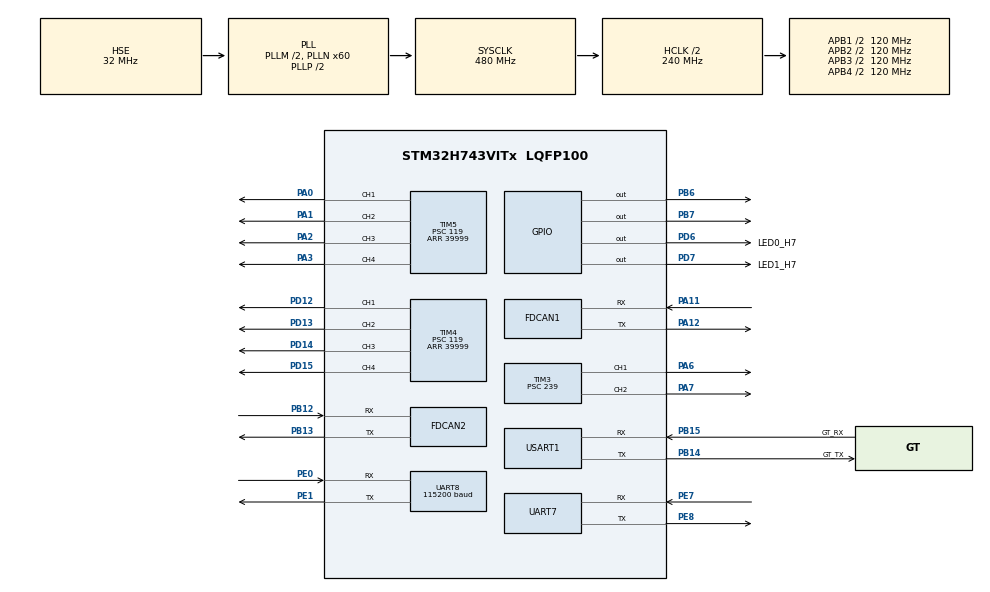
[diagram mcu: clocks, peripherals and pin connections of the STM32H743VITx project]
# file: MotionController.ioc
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CORTEX_M7.default_mode_Activation=1
Dma.Request0=UART8_RX
Dma.UART8_RX.0.Direction=DMA_PERIPH_TO_MEMORY
Dma.UART8_RX.0.EventEnable=DISABLE
Dma.UART8_RX.0.FIFOMode=DMA_FIFOMODE_DISABLE
Dma.UART8_RX.0.Instance=DMA1_Stream0
Dma.UART8_RX.0.MemDataAlignment=DMA_MDATAALIGN_BYTE
Dma.UART8_RX.0.MemInc=DMA_MINC_ENABLE
Dma.UART8_RX.0.Mode=DMA_NORMAL
Dma.UART8_RX.0.PeriphDataAlignment=DMA_PDATAALIGN_BYTE
Dma.UART8_RX.0.PeriphInc=DMA_PINC_DISABLE
Dma.UART8_RX.0.Polarity=HAL_DMAMUX_REQ_GEN_RISING
Dma.UART8_RX.0.Priority=DMA_PRIORITY_LOW
Dma.UART8_RX.0.RequestNumber=1
Dma.UART8_RX.0.SignalID=NONE
Dma.UART8_RX.0.SyncEnable=DISABLE
Dma.UART8_RX.0.SyncPolarity=HAL_DMAMUX_SYNC_NO_EVENT
Dma.UART8_RX.0.SyncRequestNumber=1
Dma.UART8_RX.0.SyncSignalID=NONE
FDCAN1.AutoRetransmission=ENABLE
FDCAN1.CalculateBaudRateNominal=1000000
FDCAN1.CalculateTimeBitNominal=1000
FDCAN1.CalculateTimeQuantumNominal=62.5
FDCAN1.DataPrescaler=2
FDCAN1.DataSyncJumpWidth=10
FDCAN1.DataTimeSeg1=10
FDCAN1.DataTimeSeg2=5
FDCAN1.ExtFiltersNbr=16
FDCAN1.FrameFormat=FDCAN_FRAME_FD_NO_BRS
FDCAN1.Mode=FDCAN_MODE_NORMAL
FDCAN1.NominalPrescaler=4
FDCAN1.NominalSyncJumpWidth=10
FDCAN1.NominalTimeSeg1=10
FDCAN1.NominalTimeSeg2=5
FDCAN1.RxBufferSize=FDCAN_DATA_BYTES_64
FDCAN1.RxFifo0ElmtSize=FDCAN_DATA_BYTES_64
FDCAN1.RxFifo0ElmtsNbr=32
FDCAN1.RxFifo1ElmtSize=FDCAN_DATA_BYTES_64
FDCAN1.StdFiltersNbr=16
FDCAN1.TxElmtSize=FDCAN_DATA_BYTES_64
FDCAN1.TxFifoQueueElmtsNbr=32
FDCAN2.AutoRetransmission=ENABLE
FDCAN2.CalculateBaudRateNominal=200000
FDCAN2.CalculateTimeBitNominal=5000
FDCAN2.CalculateTimeQuantumNominal=312.5
FDCAN2.DataPrescaler=2
FDCAN2.DataSyncJumpWidth=10
FDCAN2.DataTimeSeg1=10
FDCAN2.DataTimeSeg2=5
FDCAN2.ExtFiltersNbr=16
FDCAN2.FrameFormat=FDCAN_FRAME_CLASSIC
FDCAN2.NominalPrescaler=20
FDCAN2.NominalSyncJumpWidth=10
FDCAN2.NominalTimeSeg1=10
FDCAN2.NominalTimeSeg2=5
FDCAN2.RxFifo0ElmtSize=FDCAN_DATA_BYTES_64
FDCAN2.RxFifo0ElmtsNbr=32
FDCAN2.RxFifo1ElmtSize=FDCAN_DATA_BYTES_64
FDCAN2.StdFiltersNbr=16
FDCAN2.TxElmtSize=FDCAN_DATA_BYTES_8
FDCAN2.TxFifoQueueElmtsNbr=32
Mcu.Family=STM32H7
Mcu.Name=STM32H743VITx
Mcu.Package=LQFP100
NVIC.DMA1_Stream0_IRQn=true\:0\:0\:false\:false\:true\:false\:true\:true
NVIC.FDCAN1_IT0_IRQn=true\:0\:0\:false\:false\:true\:true\:true\:true
NVIC.PriorityGroup=NVIC_PRIORITYGROUP_2
NVIC.TIM1_UP_IRQn=true\:0\:0\:false\:false\:true\:true\:true\:true
NVIC.TIM2_IRQn=true\:2\:0\:true\:false\:true\:true\:true\:true
NVIC.TIM3_IRQn=true\:2\:0\:true\:false\:true\:true\:true\:true
NVIC.UART7_IRQn=true\:1\:0\:true\:false\:true\:true\:true\:true
NVIC.UART8_IRQn=true\:1\:0\:true\:false\:true\:true\:true\:true
NVIC.USART1_IRQn=true\:0\:0\:false\:false\:true\:true\:true\:true
PA0.Signal=S_TIM5_CH1
PA1.Signal=S_TIM5_CH2
PA11.Mode=FDCAN_Activate
PA11.Signal=FDCAN1_RX
PA12.Mode=FDCAN_Activate
PA12.Signal=FDCAN1_TX
PA13\ (JTMS/SWDIO).Mode=Serial_Wire
PA13\ (JTMS/SWDIO).Signal=DEBUG_JTMS-SWDIO
PA14\ (JTCK/SWCLK).Mode=Serial_Wire
PA14\ (JTCK/SWCLK).Signal=DEBUG_JTCK-SWCLK
PA2.Signal=S_TIM5_CH3
PA3.Signal=S_TIM5_CH4
PA6.Signal=S_TIM3_CH1
PA7.Signal=S_TIM3_CH2
PB12.Mode=FDCAN_Activate
PB12.Signal=FDCAN2_RX
PB13.Mode=FDCAN_Activate
PB13.Signal=FDCAN2_TX
PB14.GPIO_Label=GT_TX
PB14.GPIO_Speed=GPIO_SPEED_FREQ_HIGH
PB14.Mode=Asynchronous
PB14.Signal=USART1_TX
PB15.GPIO_Label=GT_RX
PB15.GPIO_Speed=GPIO_SPEED_FREQ_HIGH
PB15.Mode=Asynchronous
PB15.Signal=USART1_RX
PB6.GPIO_Speed=GPIO_SPEED_FREQ_HIGH
PB6.PinState=GPIO_PIN_SET
PB6.Signal=GPIO_Output
PB7.GPIO_Speed=GPIO_SPEED_FREQ_HIGH
PB7.PinState=GPIO_PIN_SET
PB7.Signal=GPIO_Output
PD12.Signal=S_TIM4_CH1
PD13.Signal=S_TIM4_CH2
PD14.Signal=S_TIM4_CH3
PD15.Signal=S_TIM4_CH4
PD6.GPIO_Label=LED0_H7
PD6.GPIO_Speed=GPIO_SPEED_FREQ_HIGH
PD6.PinState=GPIO_PIN_SET
PD6.Signal=GPIO_Output
PD7.GPIO_Label=LED1_H7
PD7.GPIO_Speed=GPIO_SPEED_FREQ_HIGH
PD7.PinState=GPIO_PIN_SET
PD7.Signal=GPIO_Output
PE0.Mode=Asynchronous
PE0.Signal=UART8_RX
PE1.Mode=Asynchronous
PE1.Signal=UART8_TX
PE7.Mode=Asynchronous
PE7.Signal=UART7_RX
PE8.Mode=Asynchronous
PE8.Signal=UART7_TX
PH0-OSC_IN\ (PH0).Mode=HSE-External-Oscillator
PH0-OSC_IN\ (PH0).Signal=RCC_OSC_IN
PH1-OSC_OUT\ (PH1).Mode=HSE-External-Oscillator
PH1-OSC_OUT\ (PH1).Signal=RCC_OSC_OUT
ProjectManager.HeapSize=0xFF00
ProjectManager.StackSize=0xFF00
ProjectManager.TargetToolchain=MDK-ARM V5.32
RCC.ADCFreq_Value=256000000
RCC.APB1Freq_Value=120000000
RCC.APB2Freq_Value=120000000
RCC.APB3Freq_Value=120000000
RCC.APB4Freq_Value=120000000
RCC.CortexFreq_Value=480000000
RCC.D1PPRE=RCC_APB3_DIV2
RCC.D2PPRE1=RCC_APB1_DIV2
RCC.D2PPRE2=RCC_APB2_DIV2
RCC.D3PPRE=RCC_APB4_DIV2
RCC.DIVM1=2
RCC.DIVM2=2
RCC.DIVM3=2
RCC.DIVN1=60
RCC.DIVN2=32
RCC.DIVN3=60
RCC.DIVQ1=3
RCC.DIVQ2=8
RCC.DIVQ3=8
RCC.FDCANCLockSelection=RCC_FDCANCLKSOURCE_PLL2
RCC.HCLKFreq_Value=240000000
RCC.HPRE=RCC_HCLK_DIV2
RCC.HSE_VALUE=32000000
RCC.PLL2FRACN=0
RCC.PLL3FRACN=0
RCC.PLLFRACN=0
RCC.PLLSourceVirtual=RCC_PLLSOURCE_HSE
RCC.SYSCLKFreq_VALUE=480000000
RCC.SYSCLKSource=RCC_SYSCLKSOURCE_PLLCLK
RCC.USART234578CLockSelection=RCC_USART234578CLKSOURCE_PLL3
RCC.USBFreq_Value=320000000
SH.S_TIM3_CH1.0=TIM3_CH1,PWM Generation1 CH1
SH.S_TIM3_CH2.0=TIM3_CH2,PWM Generation2 CH2
SH.S_TIM4_CH1.0=TIM4_CH1,PWM Generation1 CH1
SH.S_TIM4_CH2.0=TIM4_CH2,PWM Generation2 CH2
SH.S_TIM4_CH3.0=TIM4_CH3,PWM Generation3 CH3
SH.S_TIM4_CH4.0=TIM4_CH4,PWM Generation4 CH4
SH.S_TIM5_CH1.0=TIM5_CH1,PWM Generation1 CH1
SH.S_TIM5_CH2.0=TIM5_CH2,PWM Generation2 CH2
SH.S_TIM5_CH3.0=TIM5_CH3,PWM Generation3 CH3
SH.S_TIM5_CH4.0=TIM5_CH4,PWM Generation4 CH4
TIM1.Period=19999
TIM1.Prescaler=239
TIM2.Period=62499
TIM2.Prescaler=239
TIM3.Channel-PWM\ Generation1\ CH1=TIM_CHANNEL_1
TIM3.Channel-PWM\ Generation2\ CH2=TIM_CHANNEL_2
TIM3.Period=20000 - 1
TIM3.Prescaler=239
TIM4.Channel-PWM\ Generation1\ CH1=TIM_CHANNEL_1
TIM4.Channel-PWM\ Generation2\ CH2=TIM_CHANNEL_2
TIM4.Channel-PWM\ Generation3\ CH3=TIM_CHANNEL_3
TIM4.Channel-PWM\ Generation4\ CH4=TIM_CHANNEL_4
TIM4.Period=39999
TIM4.Prescaler=119
TIM5.Channel-PWM\ Generation1\ CH1=TIM_CHANNEL_1
TIM5.Channel-PWM\ Generation2\ CH2=TIM_CHANNEL_2
TIM5.Channel-PWM\ Generation3\ CH3=TIM_CHANNEL_3
TIM5.Channel-PWM\ Generation4\ CH4=TIM_CHANNEL_4
TIM5.Period=39999
TIM5.Prescaler=119
UART8.BaudRate=115200
USART1.VirtualMode-Asynchronous=VM_ASYNC
VP_TIM1_VS_ClockSourceINT.Mode=Internal
VP_TIM2_VS_ClockSourceINT.Mode=Internal
VP_TIM3_VS_ClockSourceINT.Mode=Internal
VP_TIM4_VS_ClockSourceINT.Mode=Internal
VP_TIM5_VS_ClockSourceINT.Mode=Internal
board=custom

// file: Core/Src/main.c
/* USER CODE BEGIN Header */
/**
  ******************************************************************************
  * @file           : main.c
  * @brief          : Main program body
  ******************************************************************************
  * @attention
  *
  * Copyright (c) 2025 STMicroelectronics.
  * All rights reserved.
  *
  * This software is licensed under terms that can be found in the LICENSE file
  * in the root directory of this software component.
  * If no LICENSE file comes with this software, it is provided AS-IS.
  *
  ******************************************************************************
  */
/* USER CODE END Header */
#include "main.h"
#include "dma.h"
#include "fdcan.h"
#include "tim.h"
#include "usart.h"
#include "gpio.h"

/* USER CODE BEGIN Includes */
#include "motor.h"
#include "comm.h"
#include "thrust.h"
#include "usart.h"
#include "filter.h"

#include "autocontrol.h"

#include "cJSON.h"
#include "json_process.h"
#include "can_process.h"
#include "RS485_process.h"
#include "wt_usart.h"

#include <stdio.h>
#include <stdlib.h>
#include <string.h>
/* USER CODE END Includes */

/* USER CODE BEGIN PTD */
#define thrust_mean_filter_length 20

#define SERVO_UP 2500.0
#define SERVO_DOWN 500.0
/* USER CODE END PTD */

/* USER CODE BEGIN PV */
RobotController robot_controller;
float           openloop_thrust[6] = {0}; // 0~5 correspond x y z rx ry rz

MeanFilter meanfilter[6];

int led_motion   = 0;
int led_dataup   = 0;
int led_uart4    = 0;
int led_uart7    = 0;
int led_main     = 0;
int led_watchdog = 0;
int led_ms5837   = 0;

int threadmonitor_tim2  = 30;
int threadmonitor_tim3  = 30;
int threadmonitor_uart1 = 300;
int threadmonitor_uart7 = 300;
int threadmonitor_uart8 = 300;
int16_t servo0angletest;
int start = 0;

uint8_t transbuf[157] = {0};

// float measureddepth = 0;
// float realdepth     = 0;
// float startdepth    = 0;
// float checkeddepth  = 0;
float mapped_angle = 90;
extern float servo0angel;

float received_depth = 0;
float received_temp = 0;
uint8_t can_rx_data[8];
uint8_t angle[8] = {0x50, 0x03, 0x00, 0x3D, 0x00, 0x03, 0x99, 0x86};
uint8_t accelarate[8] = {0x50, 0x03, 0x00, 0x34, 0x00, 0x03, 0x49, 0x84};
// extern float servo0angle;
/* USER CODE END PV */

void SystemClock_Config(void);
void PeriphCommonClock_Config(void);
static void MPU_Config(void);
/* USER CODE BEGIN PFP */
int fputc(int ch,FILE *f)
{
  uint8_t temp[1]={ch};
  HAL_UART_Transmit(&huart7,temp,1,2);
  return ch;
}
/* USER CODE END PFP */

/* USER CODE BEGIN 0 */
/*
 * 函数�??????????????????????: HAL_TIM_PeriodElapsedCallback
 * 描述  : 定时器中断处�??????????????????????
 * 输入  : TIM_HandleTypeDef *htim 定时器地�??????????????????????
 * 输出  : /
 * 备注  : 用于处理数据
 */
void HAL_TIM_PeriodElapsedCallback(TIM_HandleTypeDef *htim)
{
    static float motorthrust[6]        = {0}; // 0~5 correspond motor0~5
    static float askedthrust[6]        = {0};
    static float motorthrust_filted[6] = {0};

    //  1号定时器中断
    //  频率 20hz
    if (htim == (&htim1))
    { // watch dog
        threadmonitor_tim2--;
        threadmonitor_tim3--;
        threadmonitor_uart1--;
        threadmonitor_uart7--;
        threadmonitor_uart8--;

        if (threadmonitor_uart1 <= 0)
        {
            HAL_UART_Receive_IT(&huart1, uart1rec.buf, 1);
            __HAL_UART_CLEAR_OREFLAG(&huart1);
            threadmonitor_uart1 = 30;
        }
        if (threadmonitor_tim2 <= 0)
        {
            __HAL_TIM_CLEAR_IT(&htim2, TIM_IT_UPDATE);
            HAL_TIM_Base_Start_IT(&htim2);
            threadmonitor_tim2 = 30;
        }
        if (threadmonitor_tim3 <= 0)
        {
            __HAL_TIM_CLEAR_IT(&htim3, TIM_IT_UPDATE);
            HAL_TIM_Base_Start_IT(&htim3);
            threadmonitor_tim3 = 30;
        }
        if (threadmonitor_uart7 <= 0)
        {
            HAL_UART_Receive_IT(&huart7, uart7rec.buf, 1);
            __HAL_UART_CLEAR_OREFLAG(&huart7);
            threadmonitor_uart7 = 30;
        }
        if (threadmonitor_uart8 <= 0)
        {
            HAL_UART_Receive_IT(&huart8, uart8rec.buf, 1);
            __HAL_UART_CLEAR_OREFLAG(&huart8);
            threadmonitor_uart8 = 30;
        }
        // led
        if (led_watchdog)
            HAL_GPIO_WritePin(GPIOD, GPIO_PIN_7, GPIO_PIN_SET);
        else
            HAL_GPIO_WritePin(GPIOD, GPIO_PIN_7, GPIO_PIN_RESET);
        led_watchdog = !led_watchdog;
    }
    //  2号定时器中断
    //  频率 16hz,数据上行
    else if (htim == (&htim2))
    {
        threadmonitor_tim3 = 20;
        send_depth_temperature();
    }
    //  3号定时器中断
    //  频率 30hz
    else if (htim == (&htim3))
    {
        threadmonitor_tim2 = 20;
        // allocate thrust
        ThrustAllocate(openloop_thrust, motorthrust);

        // thrust filter
        // for (int i = 0; i < 6; i++) { motorthrust_filted[i] = meanfilter[i].refresh(&(meanfilter[i]), motorthrust[i]); }
        for (int i = 0; i < 6; i++) { motorthrust_filted[i] = motorthrust[i]; }

        // Convert thrust signal to PWM signal
        MotorPwmRefresh(motorthrust_filted);

        // led
        if (led_motion)
            HAL_GPIO_WritePin(GPIOD, GPIO_PIN_6, GPIO_PIN_SET);
        else
            HAL_GPIO_WritePin(GPIOD, GPIO_PIN_6, GPIO_PIN_RESET);
        led_motion = !led_motion;
    }
}
/* USER CODE END 0 */

int main(void)
{

  /* MPU Configuration--------------------------------------------------------*/
  MPU_Config();

  /* MCU Configuration--------------------------------------------------------*/

  /* Reset of all peripherals, Initializes the Flash interface and the Systick. */
  HAL_Init();

  /* Configure the system clock */
  SystemClock_Config();

/* Configure the peripherals common clocks */
  PeriphCommonClock_Config();

  /* Initialize all configured peripherals */
  MX_GPIO_Init();
  MX_DMA_Init();
  MX_UART7_Init();
  MX_UART8_Init();
  MX_TIM1_Init();
  MX_TIM2_Init();
  MX_TIM3_Init();
  MX_TIM4_Init();
  MX_FDCAN1_Init();
  MX_TIM5_Init();
  MX_USART1_UART_Init();
  MX_FDCAN2_Init();
  /* USER CODE BEGIN 2 */

  // 初始化所有电机参数
  initialize_all_motor_params();
  // uart it start
  CommInit();
  FDCAN1_Config();
  FDCAN2_Config();

  // motor init
  MotorInit();
  HAL_Delay(50);

  transbuf[0]   = 0xfa;
  transbuf[1]   = 0xaf;
  transbuf[2]   = 0x00;
  transbuf[155] = 0xfb;
  transbuf[156] = 0xbf;

  MeanFilter_Init(&(meanfilter[0]), thrust_mean_filter_length);
  MeanFilter_Init(&(meanfilter[1]), thrust_mean_filter_length);
  MeanFilter_Init(&(meanfilter[2]), thrust_mean_filter_length);
  MeanFilter_Init(&(meanfilter[3]), thrust_mean_filter_length);
  MeanFilter_Init(&(meanfilter[4]), thrust_mean_filter_length);
  MeanFilter_Init(&(meanfilter[5]), thrust_mean_filter_length);

  ThrustCurveInit(&(thrustcurve[0]));
  ThrustCurveInit(&(thrustcurve[1]));
  ThrustCurveInit(&(thrustcurve[2]));
  ThrustCurveInit(&(thrustcurve[3]));
  ThrustCurveInit(&(thrustcurve[4]));
  ThrustCurveInit(&(thrustcurve[5]));
  // start data process
  HAL_TIM_Base_Start_IT(&htim1);
  HAL_TIM_Base_Start_IT(&htim2);
  HAL_TIM_Base_Start_IT(&htim3);

  HAL_GPIO_WritePin(GPIOB, GPIO_PIN_6, GPIO_PIN_SET);
  HAL_GPIO_WritePin(GPIOB, GPIO_PIN_7, GPIO_PIN_SET);

  //PWM舵机初始化
  HAL_TIM_PWM_Start(&htim3, TIM_CHANNEL_1);
  __HAL_TIM_SetCompare(&htim3, TIM_CHANNEL_1, 1500);

  //can总线舵机
  set_position(&hfdcan2, 1, 90, 0xFF);
  /* USER CODE END 2 */

  /* Infinite loop */
  while (1)
  {

    /* USER CODE BEGIN 3 */
    __HAL_TIM_SetCompare(&htim3, TIM_CHANNEL_1,
                              (int)(servo0angle * (SERVO_UP - SERVO_DOWN) + SERVO_DOWN));
    HAL_Delay(5);
  }
  /* USER CODE END 3 */
}

void SystemClock_Config(void)
{
  RCC_OscInitTypeDef RCC_OscInitStruct = {0};
  RCC_ClkInitTypeDef RCC_ClkInitStruct = {0};

  /** Supply configuration update enable
  */
  HAL_PWREx_ConfigSupply(PWR_LDO_SUPPLY);

  /** Configure the main internal regulator output voltage
  */
  __HAL_PWR_VOLTAGESCALING_CONFIG(PWR_REGULATOR_VOLTAGE_SCALE1);

  while(!__HAL_PWR_GET_FLAG(PWR_FLAG_VOSRDY)) {}

  __HAL_RCC_SYSCFG_CLK_ENABLE();
  __HAL_PWR_VOLTAGESCALING_CONFIG(PWR_REGULATOR_VOLTAGE_SCALE0);

  while(!__HAL_PWR_GET_FLAG(PWR_FLAG_VOSRDY)) {}

  /** Initializes the RCC Oscillators according to the specified parameters
  * in the RCC_OscInitTypeDef structure.
  */
  RCC_OscInitStruct.OscillatorType = RCC_OSCILLATORTYPE_HSE;
  RCC_OscInitStruct.HSEState = RCC_HSE_ON;
  RCC_OscInitStruct.PLL.PLLState = RCC_PLL_ON;
  RCC_OscInitStruct.PLL.PLLSource = RCC_PLLSOURCE_HSE;
  RCC_OscInitStruct.PLL.PLLM = 2;
  RCC_OscInitStruct.PLL.PLLN = 60;
  RCC_OscInitStruct.PLL.PLLP = 2;
  RCC_OscInitStruct.PLL.PLLQ = 3;
  RCC_OscInitStruct.PLL.PLLR = 2;
  RCC_OscInitStruct.PLL.PLLRGE = RCC_PLL1VCIRANGE_3;
  RCC_OscInitStruct.PLL.PLLVCOSEL = RCC_PLL1VCOWIDE;
  RCC_OscInitStruct.PLL.PLLFRACN = 0;
  if (HAL_RCC_OscConfig(&RCC_OscInitStruct) != HAL_OK)
  {
    Error_Handler();
  }

  /** Initializes the CPU, AHB and APB buses clocks
  */
  RCC_ClkInitStruct.ClockType = RCC_CLOCKTYPE_HCLK|RCC_CLOCKTYPE_SYSCLK
                              |RCC_CLOCKTYPE_PCLK1|RCC_CLOCKTYPE_PCLK2
                              |RCC_CLOCKTYPE_D3PCLK1|RCC_CLOCKTYPE_D1PCLK1;
  RCC_ClkInitStruct.SYSCLKSource = RCC_SYSCLKSOURCE_PLLCLK;
  RCC_ClkInitStruct.SYSCLKDivider = RCC_SYSCLK_DIV1;
  RCC_ClkInitStruct.AHBCLKDivider = RCC_HCLK_DIV2;
  RCC_ClkInitStruct.APB3CLKDivider = RCC_APB3_DIV2;
  RCC_ClkInitStruct.APB1CLKDivider = RCC_APB1_DIV2;
  RCC_ClkInitStruct.APB2CLKDivider = RCC_APB2_DIV2;
  RCC_ClkInitStruct.APB4CLKDivider = RCC_APB4_DIV2;

  if (HAL_RCC_ClockConfig(&RCC_ClkInitStruct, FLASH_LATENCY_4) != HAL_OK)
  {
    Error_Handler();
  }
}

void PeriphCommonClock_Config(void)
{
  RCC_PeriphCLKInitTypeDef PeriphClkInitStruct = {0};

  /** Initializes the peripherals clock
  */
  PeriphClkInitStruct.PeriphClockSelection = RCC_PERIPHCLK_UART8|RCC_PERIPHCLK_FDCAN
                              |RCC_PERIPHCLK_UART7;
  PeriphClkInitStruct.PLL2.PLL2M = 2;
  PeriphClkInitStruct.PLL2.PLL2N = 32;
  PeriphClkInitStruct.PLL2.PLL2P = 2;
  PeriphClkInitStruct.PLL2.PLL2Q = 8;
  PeriphClkInitStruct.PLL2.PLL2R = 2;
  PeriphClkInitStruct.PLL2.PLL2RGE = RCC_PLL2VCIRANGE_3;
  PeriphClkInitStruct.PLL2.PLL2VCOSEL = RCC_PLL2VCOWIDE;
  PeriphClkInitStruct.PLL2.PLL2FRACN = 0;
  PeriphClkInitStruct.PLL3.PLL3M = 2;
  PeriphClkInitStruct.PLL3.PLL3N = 60;
  PeriphClkInitStruct.PLL3.PLL3P = 2;
  PeriphClkInitStruct.PLL3.PLL3Q = 8;
  PeriphClkInitStruct.PLL3.PLL3R = 2;
  PeriphClkInitStruct.PLL3.PLL3RGE = RCC_PLL3VCIRANGE_3;
  PeriphClkInitStruct.PLL3.PLL3VCOSEL = RCC_PLL3VCOWIDE;
  PeriphClkInitStruct.PLL3.PLL3FRACN = 0;
  PeriphClkInitStruct.FdcanClockSelection = RCC_FDCANCLKSOURCE_PLL2;
  PeriphClkInitStruct.Usart234578ClockSelection = RCC_USART234578CLKSOURCE_PLL3;
  if (HAL_RCCEx_PeriphCLKConfig(&PeriphClkInitStruct) != HAL_OK)
  {
    Error_Handler();
  }
}

 /* MPU Configuration */

void MPU_Config(void)
{
  MPU_Region_InitTypeDef MPU_InitStruct = {0};

  /* Disables the MPU */
  HAL_MPU_Disable();

  /** Initializes and configures the Region and the memory to be protected
  */
  MPU_InitStruct.Enable = MPU_REGION_ENABLE;
  MPU_InitStruct.Number = MPU_REGION_NUMBER0;
  MPU_InitStruct.BaseAddress = 0x0;
  MPU_InitStruct.Size = MPU_REGION_SIZE_4GB;
  MPU_InitStruct.SubRegionDisable = 0x87;
  MPU_InitStruct.TypeExtField = MPU_TEX_LEVEL0;
  MPU_InitStruct.AccessPermission = MPU_REGION_NO_ACCESS;
  MPU_InitStruct.DisableExec = MPU_INSTRUCTION_ACCESS_DISABLE;
  MPU_InitStruct.IsShareable = MPU_ACCESS_SHAREABLE;
  MPU_InitStruct.IsCacheable = MPU_ACCESS_NOT_CACHEABLE;
  MPU_InitStruct.IsBufferable = MPU_ACCESS_NOT_BUFFERABLE;

  HAL_MPU_ConfigRegion(&MPU_InitStruct);
  /* Enables the MPU */
  HAL_MPU_Enable(MPU_PRIVILEGED_DEFAULT);

}

void Error_Handler(void)
{
  __disable_irq();
  while (1)
  {
  }
}
